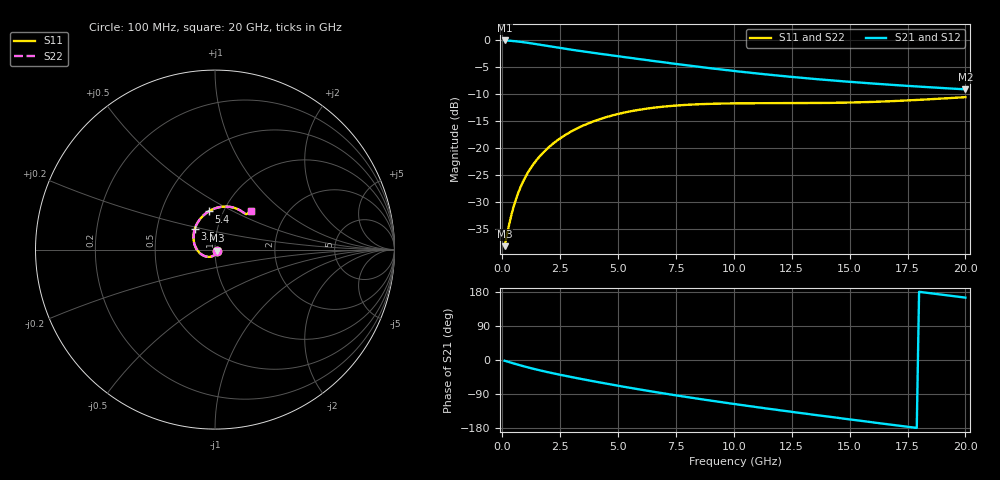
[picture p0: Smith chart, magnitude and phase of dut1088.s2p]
! Touchstone file exported from HFSS 2024.1.0
!  File:  C:/UserFiles/LocalFiles/RDL_TSV_Batchsim/temp_RDL_TSV_1088_1780097318.aedt
!  Generated:  07:39:00 AM May 30, 2026
!  Design:  RDL_TSV
!  Project:  temp_RDL_TSV_1088_1780097318
!  Setup:  Setup1
!  Solution:  Sweep
! Variables:
!  dtsv = 13.94um
!  hbump = 3um
!  htsv = 85.4um
!  ldown = 146.45um
!  lrdl = 530.36um
!  p = 40
!  p1 = 48.56um
!  rhole = 10um
!  subl = 2560.79um
!  t = 450um
!  tdown = 3.62um
!  trdl = 3.5um
!  viad = 10um
!  wdown = 24.85um
!  wrdl = 24.15um
!  xbump = 18um
# GHz S MA R 50.000000
! Terminal data exported
! Port[1] = TM1_1_T1
! Port[2] = TM1_4_T1
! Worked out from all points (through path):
!   200 points, 100 MHz to 20 GHz, reference 50 ohm
!   highest |S21| = -0.11 dB at 100 MHz (marker M1); lowest = -9.1 dB at 20 GHz (marker M2)
!   group delay of S21, straight-line fit = 25.6 ps
!   lowest |S11| = -38.2 dB at 100 MHz (marker M3), VSWR 1.03, Z = 51.1 - j0.589 ohm
!   |S11| at or under -10 dB: start of sweep to end of sweep
!   |S22| runs from -38.2 to -10.6 dB; largest |S21 - S12| = 3.8e-14
!   S11 on the Smith chart (normalised r, x): 100 MHz: 1.02, -0.01; 3.5 GHz: 0.78, +0.19; 5.4 GHz: 0.85, +0.38; 20 GHz: 1.34, +0.63
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0.1  0.01237 -27.8  0.988 -1.9  0.988 -1.9  0.01237 -27.8
! Gamma 0 0 0 0
! Port Impedance 50 0 50 0
0.3  0.0198 -69.9  0.983 -5.7  0.983 -5.7  0.01979 -69.6
0.4  0.02438 -83.1  0.9794 -7.5  0.9794 -7.5  0.02437 -82.9
0.6  0.03411 -102.9  0.9703 -11.0  0.9703 -11.0  0.03409 -102.8
0.7  0.03909 -111.0  0.965 -12.8  0.965 -12.8  0.03906 -110.9
0.9  0.04907 -125.1  0.953 -16.2  0.953 -16.2  0.04904 -125.0
1.2  0.06387 -143.1  0.9326 -21.0  0.9326 -21.0  0.06384 -143.0
1.7  0.08767 -167.8  0.8962 -28.4  0.8962 -28.4  0.08765 -167.8
2.2  0.1102 172.0  0.861 -35.2  0.861 -35.2  0.1101 172.0
2.8  0.1352 152.4  0.8223 -42.8  0.8223 -42.8  0.1352 152.4
3.5  0.1616 134.0  0.7818 -51.1  0.7818 -51.1  0.1616 134.0
4.4  0.1904 115.4  0.735 -61.3  0.735 -61.3  0.1904 115.4
5.4  0.2156 99.4  0.6874 -72.2  0.6874 -72.2  0.2156 99.4
6.8  0.2395 82.6  0.6269 -86.5  0.6269 -86.5  0.2395 82.6
8.4  0.2536 69.0  0.5667 -101.7  0.5667 -101.7  0.2537 69.0
10.1  0.2589 59.4  0.5133 -116.8  0.5133 -116.8  0.259 59.4
11.7  0.2598 53.7  0.4723 -130.3  0.4723 -130.3  0.2599 53.6
13.4  0.2604 50.2  0.4368 -144.1  0.4368 -144.1  0.2605 50.2
15  0.2634 48.7  0.4095 -156.7  0.4095 -156.7  0.2635 48.6
16.7  0.2706 48.0  0.3854 -170.0  0.3854 -170.0  0.2706 47.9
18.3  0.2812 47.5  0.3663 177.6  0.3663 177.6  0.2811 47.4
20  0.2954 46.7  0.3488 164.6  0.3488 164.6  0.2951 46.6
